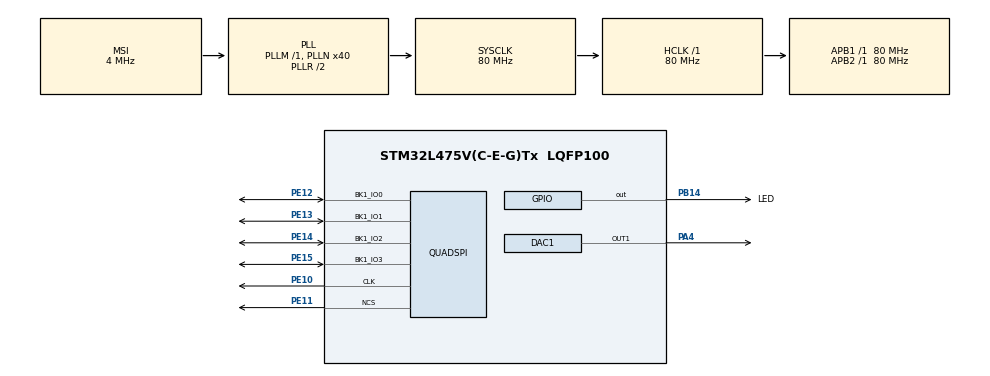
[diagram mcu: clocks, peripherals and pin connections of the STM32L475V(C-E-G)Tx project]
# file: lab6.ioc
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Mcu.Family=STM32L4
RCC.MSI_VALUE=4000000
Dma.DAC_CH1.0.Mode=DMA_NORMAL
Dma.DAC_CH1.0.MemDataAlignment=DMA_MDATAALIGN_BYTE
RCC.CortexFreq_Value=80000000
PB14.GPIO_Label=LED
PE10.Mode=Single Bank
RCC.SYSCLKSource=RCC_SYSCLKSOURCE_PLLCLK
ProjectManager.StackSize=0x400
PB3\ (JTDO-TRACESWO).Signal=SYS_JTDO-SWO
NVIC.DMA1_Channel3_IRQn=true\:0\:0\:false\:false\:true\:false\:true
Dma.DAC_CH1.0.Direction=DMA_MEMORY_TO_PERIPH
PE11.Mode=Single Bank
Dma.DAC_CH1.0.Instance=DMA1_Channel3
ProjectManager.TargetToolchain=STM32CubeIDE
SH.COMP_DAC11_group.0=DAC1_OUT1,DAC_OUT1
RCC.HCLKFreq_Value=80000000
RCC.APB2TimFreq_Value=80000000
Dma.DAC_CH1.0.MemInc=DMA_MINC_ENABLE
RCC.USBFreq_Value=48000000
PE11.Signal=QUADSPI_NCS
RCC.LSE_VALUE=32768
RCC.AHBFreq_Value=80000000
PB14.Signal=GPIO_Output
RCC.HSE_VALUE=8000000
board=B-L475E-IOT01A1
RCC.VCOOutputFreq_Value=160000000
RCC.APB2Freq_Value=80000000
PE14.Signal=QUADSPI_BK1_IO2
PE13.Signal=QUADSPI_BK1_IO1
PE15.Signal=QUADSPI_BK1_IO3
VP_TIM2_VS_ClockSourceINT.Mode=Internal
PE14.Mode=Single Bank
NVIC.TIM2_IRQn=true\:0\:0\:false\:false\:true\:true\:true
RCC.ADCFreq_Value=48000000
Dma.DAC_CH1.0.PeriphDataAlignment=DMA_PDATAALIGN_BYTE
PE13.Mode=Single Bank
DAC1.DAC_Trigger-DAC_OUT1=DAC_TRIGGER_T2_TRGO
TIM2.Period=1814
PE10.Signal=QUADSPI_CLK
Mcu.Name=STM32L475V(C-E-G)Tx
PE12.Signal=QUADSPI_BK1_IO0
Dma.DAC_CH1.0.PeriphInc=DMA_PINC_DISABLE
PA4.Signal=COMP_DAC11_group
RCC.SYSCLKFreq_VALUE=80000000
Mcu.Package=LQFP100
ProjectManager.HeapSize=0x200
Dma.DAC_CH1.0.Priority=DMA_PRIORITY_LOW
RCC.HSI_VALUE=16000000
NVIC.PriorityGroup=NVIC_PRIORITYGROUP_4
TIM2.TIM_MasterOutputTrigger=TIM_TRGO_UPDATE
RCC.PLLN=40
RCC.APB1TimFreq_Value=80000000
PA13\ (JTMS-SWDIO).Signal=SYS_JTMS-SWDIO
Dma.Request0=DAC_CH1
RCC.APB1Freq_Value=80000000
PE15.Mode=Single Bank
RCC.PLLSAI1N=24
PE12.Mode=Single Bank

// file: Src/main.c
/* USER CODE BEGIN Header */
/**
  ******************************************************************************
  * @file           : main.c
  * @brief          : Main program body
  ******************************************************************************
  * @attention
  *
  * <h2><center>&copy; Copyright (c) 2020 STMicroelectronics.
  * All rights reserved.</center></h2>
  *
  * This software component is licensed by ST under BSD 3-Clause license,
  * the "License"; You may not use this file except in compliance with the
  * License. You may obtain a copy of the License at:
  *                        opensource.org/licenses/BSD-3-Clause
  *
  ******************************************************************************
  */
/* USER CODE END Header */
#include "main.h"

/* USER CODE BEGIN Includes */
#include "arm_math.h"
#include <math.h>
#include "stm32l475e_iot01_qspi.h"
#include "stdio.h"
/* USER CODE END Includes */

/* USER CODE BEGIN PD */
#define QSPI_BUFFER_SIZE    ((uint32_t)10000)
#define WRITE_READ_ADDR     ((uint32_t)80)
/* USER CODE END PD */

DAC_HandleTypeDef hdac1;
DMA_HandleTypeDef hdma_dac_ch1;

QSPI_HandleTypeDef hqspi;

TIM_HandleTypeDef htim2;

/* USER CODE BEGIN PV */
uint8_t sine[QSPI_BUFFER_SIZE];
uint8_t audio[QSPI_BUFFER_SIZE];
int counter;

/* USER CODE END PV */

void SystemClock_Config(void);
static void MX_GPIO_Init(void);
static void MX_DMA_Init(void);
static void MX_DAC1_Init(void);
static void MX_TIM2_Init(void);
static void MX_QUADSPI_Init(void);

int main(void)
{

  /* MCU Configuration--------------------------------------------------------*/

  /* Reset of all peripherals, Initializes the Flash interface and the Systick. */
  HAL_Init();

  /* Configure the system clock */
  SystemClock_Config();

  /* Initialize all configured peripherals */
  MX_GPIO_Init();
  MX_DMA_Init();
  MX_DAC1_Init();
  MX_TIM2_Init();
  MX_QUADSPI_Init();
  /* USER CODE BEGIN 2 */
  BSP_QSPI_Init();
  counter = 0;
  if(BSP_QSPI_Erase_Block(WRITE_READ_ADDR) != QSPI_OK){
 		  printf("QSPI ERASE : FAILED, QSPI Test Aborted \n");
  }else{
	  for(int i = 0; i<6; i++){
		 float radian = 0;
		 	 for (int j = 0; j < QSPI_BUFFER_SIZE; j++) {
		 		 sine[j] = (125 * arm_sin_f32(radian)) +125;
 				 radian += PI / (2*(i+1)) ;
		}
		if(BSP_QSPI_Write(sine, WRITE_READ_ADDR + (i*QSPI_BUFFER_SIZE), QSPI_BUFFER_SIZE) != QSPI_OK){
			printf("QSPI WRITE : FAILED, QSPI Test Aborted \n");
		}else{
			printf("QSPI WRITE : OK \n");
		}
	  }
  }
  HAL_TIM_Base_Start(&htim2);
  if(BSP_QSPI_Read(audio, WRITE_READ_ADDR, QSPI_BUFFER_SIZE) != QSPI_OK){
    printf("QSPI READ : FAILED, QSPI Test Aborted \n");
  }else{
	HAL_DAC_Start_DMA(&hdac1, DAC_CHANNEL_1, (uint32_t*) audio, QSPI_BUFFER_SIZE, DAC_ALIGN_8B_R);
  }

  /* USER CODE END 2 */

  /* Infinite loop */
  while (1)
  {

  }
}

void SystemClock_Config(void)
{
  RCC_OscInitTypeDef RCC_OscInitStruct = {0};
  RCC_ClkInitTypeDef RCC_ClkInitStruct = {0};

  /** Initializes the RCC Oscillators according to the specified parameters
  * in the RCC_OscInitTypeDef structure.
  */
  RCC_OscInitStruct.OscillatorType = RCC_OSCILLATORTYPE_MSI;
  RCC_OscInitStruct.MSIState = RCC_MSI_ON;
  RCC_OscInitStruct.MSICalibrationValue = 0;
  RCC_OscInitStruct.MSIClockRange = RCC_MSIRANGE_6;
  RCC_OscInitStruct.PLL.PLLState = RCC_PLL_ON;
  RCC_OscInitStruct.PLL.PLLSource = RCC_PLLSOURCE_MSI;
  RCC_OscInitStruct.PLL.PLLM = 1;
  RCC_OscInitStruct.PLL.PLLN = 40;
  RCC_OscInitStruct.PLL.PLLP = RCC_PLLP_DIV7;
  RCC_OscInitStruct.PLL.PLLQ = RCC_PLLQ_DIV2;
  RCC_OscInitStruct.PLL.PLLR = RCC_PLLR_DIV2;
  if (HAL_RCC_OscConfig(&RCC_OscInitStruct) != HAL_OK)
  {
    Error_Handler();
  }
  /** Initializes the CPU, AHB and APB buses clocks
  */
  RCC_ClkInitStruct.ClockType = RCC_CLOCKTYPE_HCLK|RCC_CLOCKTYPE_SYSCLK
                              |RCC_CLOCKTYPE_PCLK1|RCC_CLOCKTYPE_PCLK2;
  RCC_ClkInitStruct.SYSCLKSource = RCC_SYSCLKSOURCE_PLLCLK;
  RCC_ClkInitStruct.AHBCLKDivider = RCC_SYSCLK_DIV1;
  RCC_ClkInitStruct.APB1CLKDivider = RCC_HCLK_DIV1;
  RCC_ClkInitStruct.APB2CLKDivider = RCC_HCLK_DIV1;

  if (HAL_RCC_ClockConfig(&RCC_ClkInitStruct, FLASH_LATENCY_4) != HAL_OK)
  {
    Error_Handler();
  }
  /** Configure the main internal regulator output voltage
  */
  if (HAL_PWREx_ControlVoltageScaling(PWR_REGULATOR_VOLTAGE_SCALE1) != HAL_OK)
  {
    Error_Handler();
  }
}

static void MX_DAC1_Init(void)
{

  DAC_ChannelConfTypeDef sConfig = {0};

  /** DAC Initialization
  */
  hdac1.Instance = DAC1;
  if (HAL_DAC_Init(&hdac1) != HAL_OK)
  {
    Error_Handler();
  }
  /** DAC channel OUT1 config
  */
  sConfig.DAC_SampleAndHold = DAC_SAMPLEANDHOLD_DISABLE;
  sConfig.DAC_Trigger = DAC_TRIGGER_T2_TRGO;
  sConfig.DAC_OutputBuffer = DAC_OUTPUTBUFFER_ENABLE;
  sConfig.DAC_ConnectOnChipPeripheral = DAC_CHIPCONNECT_DISABLE;
  sConfig.DAC_UserTrimming = DAC_TRIMMING_FACTORY;
  if (HAL_DAC_ConfigChannel(&hdac1, &sConfig, DAC_CHANNEL_1) != HAL_OK)
  {
    Error_Handler();
  }

}

static void MX_QUADSPI_Init(void)
{

  /* QUADSPI parameter configuration*/
  hqspi.Instance = QUADSPI;
  hqspi.Init.ClockPrescaler = 255;
  hqspi.Init.FifoThreshold = 1;
  hqspi.Init.SampleShifting = QSPI_SAMPLE_SHIFTING_NONE;
  hqspi.Init.FlashSize = 1;
  hqspi.Init.ChipSelectHighTime = QSPI_CS_HIGH_TIME_1_CYCLE;
  hqspi.Init.ClockMode = QSPI_CLOCK_MODE_0;
  if (HAL_QSPI_Init(&hqspi) != HAL_OK)
  {
    Error_Handler();
  }

}

static void MX_TIM2_Init(void)
{

  TIM_ClockConfigTypeDef sClockSourceConfig = {0};
  TIM_MasterConfigTypeDef sMasterConfig = {0};

  htim2.Instance = TIM2;
  htim2.Init.Prescaler = 0;
  htim2.Init.CounterMode = TIM_COUNTERMODE_UP;
  htim2.Init.Period = 1814;
  htim2.Init.ClockDivision = TIM_CLOCKDIVISION_DIV1;
  htim2.Init.AutoReloadPreload = TIM_AUTORELOAD_PRELOAD_DISABLE;
  if (HAL_TIM_Base_Init(&htim2) != HAL_OK)
  {
    Error_Handler();
  }
  sClockSourceConfig.ClockSource = TIM_CLOCKSOURCE_INTERNAL;
  if (HAL_TIM_ConfigClockSource(&htim2, &sClockSourceConfig) != HAL_OK)
  {
    Error_Handler();
  }
  sMasterConfig.MasterOutputTrigger = TIM_TRGO_UPDATE;
  sMasterConfig.MasterSlaveMode = TIM_MASTERSLAVEMODE_DISABLE;
  if (HAL_TIMEx_MasterConfigSynchronization(&htim2, &sMasterConfig) != HAL_OK)
  {
    Error_Handler();
  }

}

static void MX_DMA_Init(void)
{

  /* DMA controller clock enable */
  __HAL_RCC_DMA1_CLK_ENABLE();

  /* DMA interrupt init */
  /* DMA1_Channel3_IRQn interrupt configuration */
  HAL_NVIC_SetPriority(DMA1_Channel3_IRQn, 0, 0);
  HAL_NVIC_EnableIRQ(DMA1_Channel3_IRQn);

}

static void MX_GPIO_Init(void)
{
  GPIO_InitTypeDef GPIO_InitStruct = {0};

  /* GPIO Ports Clock Enable */
  __HAL_RCC_GPIOA_CLK_ENABLE();
  __HAL_RCC_GPIOE_CLK_ENABLE();
  __HAL_RCC_GPIOB_CLK_ENABLE();

  /*Configure GPIO pin Output Level */
  HAL_GPIO_WritePin(LED_GPIO_Port, LED_Pin, GPIO_PIN_RESET);

  /*Configure GPIO pin : LED_Pin */
  GPIO_InitStruct.Pin = LED_Pin;
  GPIO_InitStruct.Mode = GPIO_MODE_OUTPUT_PP;
  GPIO_InitStruct.Pull = GPIO_NOPULL;
  GPIO_InitStruct.Speed = GPIO_SPEED_FREQ_LOW;
  HAL_GPIO_Init(LED_GPIO_Port, &GPIO_InitStruct);

}

/* USER CODE BEGIN 4 */
void HAL_DAC_ConvCpltCallbackCh1 (DAC_HandleTypeDef * hdac){
  HAL_DAC_Stop_DMA(&hdac1, DAC_CHANNEL_1);
  counter +=1;
  if(counter > 5) counter=0;
  if(BSP_QSPI_Read(audio, WRITE_READ_ADDR + ((counter)*QSPI_BUFFER_SIZE), QSPI_BUFFER_SIZE) != QSPI_OK){
	printf("QSPI READ : FAILED, QSPI Test Aborted \n");
  }else{
	  HAL_DAC_Start_DMA(&hdac1, DAC_CHANNEL_1, (uint32_t*) audio, QSPI_BUFFER_SIZE, DAC_ALIGN_8B_R);
  }

}
/* USER CODE END 4 */

void Error_Handler(void)
{
}

/************************ (C) COPYRIGHT STMicroelectronics *****END OF FILE****/
